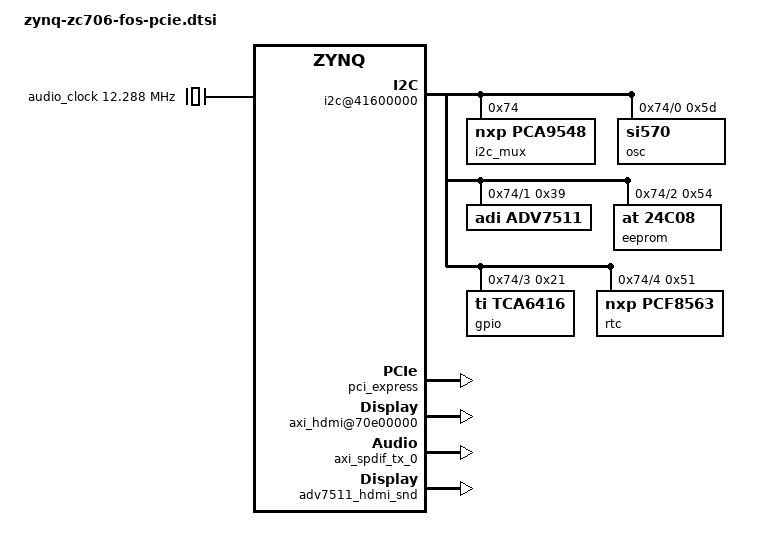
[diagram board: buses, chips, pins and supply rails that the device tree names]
/ {
	fpga_axi: fpga-axi@0 {
		compatible = "simple-bus";
		#address-cells = <0x1>;
		#size-cells = <0x1>;
		ranges;

		i2c@41600000 {
			compatible = "xlnx,axi-iic-1.02.a", "xlnx,xps-iic-2.00.a";
			interrupt-parent = <&gic>;
			interrupts = <0 58 4>;
			reg = <0x41600000 0x10000>;
			bus-id = <0>;
			#address-cells = <1>;
			#size-cells = <0>;

			i2c_mux: i2cswitch@74 {
				compatible = "nxp,pca9548";
				#address-cells = <1>;
				#size-cells = <0>;
				reg = <0x74>;

				i2c@0 {
					#address-cells = <1>;
					#size-cells = <0>;
					reg = <0>;
					osc@5d {
						compatible = "si570";
						reg = <0x5d>;
						factory-fout = <156250000>;
						initial-fout = <148500000>;
					};
				};

				i2c@1 {
				    #address-cells = <1>;
				    #size-cells = <0>;
				    reg = <1>;

				    adv7511: adv7511 {
						compatible = "adi,adv7511";
						reg = <0x39>;

						adi,input-id = <0x00>;
						adi,input-style = <0x01>;
						adi,bit-justification = <0x00>;
						adi,input-color-depth = <0x3>;
						adi,sync-pulse = <0x03>;
						adi,up-conversion = <0x00>;
						adi,timing-generation-sequence = <0x00>;
						adi,vsync-polarity = <0x02>;
						adi,hsync-polarity = <0x02>;
						adi,tdms-clock-inversion;
						adi,clock-delay = <0x03>;
				    };
				};

				i2c@2 {
					#address-cells = <1>;
					#size-cells = <0>;
					reg = <2>;
					eeprom@54 {
						compatible = "at,24c08";
						reg = <0x54>;
					};
				};

				i2c@3 {
					#address-cells = <1>;
					#size-cells = <0>;
					reg = <3>;
					gpio@21 {
						compatible = "ti,tca6416";
						reg = <0x21>;
						gpio-controller;
						#gpio-cells = <2>;
					};
				};

				i2c@4 {
					#address-cells = <1>;
					#size-cells = <0>;
					reg = <4>;
					rtc@54 {
						compatible = "nxp,pcf8563";
						reg = <0x51>;
					};
				};
			};
		};

	pci_express: axi-pcie@50000000 {
		#address-cells = <3>;
		#size-cells = <2>;
		#interrupt-cells = <1>;
		compatible = "xlnx,axi-pcie-host-1.00.a";
		reg = < 0x50000000 0x1000000 >;
		device_type = "pci";
		interrupts = < 0 52 4 >;
		interrupt-map-mask = <0 0 0 7>;
		interrupt-map = <0 0 0 1 &pcie_intc 1>,
				<0 0 0 2 &pcie_intc 2>,
				<0 0 0 3 &pcie_intc 3>,
				<0 0 0 4 &pcie_intc 4>;
		ranges = < 0x02000000 0 0x60000000 0x60000000 0 0x10000000 >;

		pcie_intc: interrupt-controller {
			interrupt-controller;
			#address-cells = <0>;
			#interrupt-cells = <1>;
		};
   };

		axi_vdma_0: axivdma@43000000 {
			#address-cells = <1>;
			#size-cells = <1>;
			#dma-cells = <1>;
			compatible = "xlnx,axi-vdma";
			reg = <0x43000000 0x1000>;
			xlnx,include-sg = <0x0>;
			xlnx,num-fstores = <0x3>;
			dma-channel@43000000 {
				compatible = "xlnx,axi-vdma-mm2s-channel";
				interrupts = <0 59 0x4>;
				xlnx,datawidth = <0x40>;
				xlnx,genlock-mode = <0x0>;
				xlnx,include-dre = <0x0>;
			};
		};

		hdmi_clock: axi-clkgen@79000000 {
			compatible = "adi,axi-clkgen-2.00.a";
			reg = <0x79000000 0x10000>;
			#clock-cells = <0>;
			clocks = <&clkc 16>;
		};

		axi_hdmi@70e00000 {
			compatible = "adi,axi-hdmi-tx-1.00.a";
			reg = <0x70e00000 0x10000>;
			encoder-slave = <&adv7511>;
			dmas = <&axi_vdma_0 0>;
			dma-names = "video";
			clocks = <&hdmi_clock>;
			adi,is-rgb;
		};

		audio_clock: audio_clock {
			compatible = "fixed-clock";
			#clock-cells = <0>;
			clock-frequency = <12288000>;
		};

		axi_spdif_tx_0: axi-spdif-tx@0x75c00000 {
			compatible = "adi,axi-spdif-tx-1.00.a";
			reg = <0x75c00000 0x1000>;
			dmas = <&ps7_dma 0>;
			dma-names = "tx";
			clocks = <&clkc 15>, <&audio_clock>, <&audio_clock>;
			clock-names = "axi", "ref", "spdif";
		};

		adv7511_hdmi_snd: adv7511_hdmi_snd {
			compatible = "adv7511-hdmi-snd";
			audio-codec = <&adv7511>;
			cpu-dai = <&axi_spdif_tx_0>;
		};

		axi4_fos_controller_0: axi4_fos_controller@43c00000 {
			compatible = "kutu,axi4-fos-controller-1.00-a";
		   reg = <0x43c00000 0x20000>;
			#clock-cells = <0>;
			clocks = <&clkc 16>;
		   interrupt-parent = <&gic>;
			interrupts = <0 56 4>;
		   xlnx,dphase-timeout = <0x8>;
			xlnx,s-axi-min-size = <0x00003FFF>;
		   xlnx,slv-awidth = <0x20>;
		   xlnx,slv-dwidth = <0x20>;
			xlnx,sys-addr-width = <0xe>;
		   xlnx,use-wstrb = <0x0>;
	   } ;

	};
};
